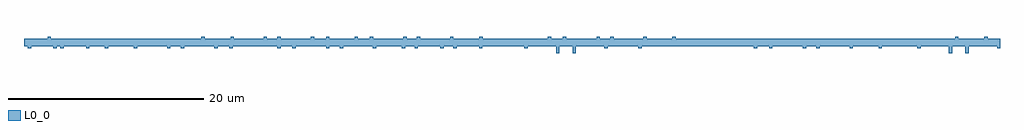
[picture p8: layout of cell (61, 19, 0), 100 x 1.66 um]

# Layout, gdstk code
import gdstk
lib = gdstk.Library(unit=1e-6, precision=1e-09)
def P(c, l, *ps):  # polygons
    for p in ps: c.add(gdstk.Polygon(p, *l))
L0_0 = (0, 0)

c__61__19__0_ = lib.new_cell('(61, 19, 0)')
P(c__61__19__0_, L0_0, [(939.84,965.6),(939.06,965.6),(939.06,965.425),(938.72,965.425),(938.72,965.6),(936.08,965.6),(936.08,965.425),(935.74,965.425),(935.74,965.6),(932.685,965.6),(932.685,965.425),(932.345,965.425),(932.345,965.6),(931.285,965.6),(931.285,965.425),(930.945,965.425),(930.945,965.6),(927.845,965.6),(927.845,965.425),(927.505,965.425),(927.505,965.6),(926.29,965.6),(926.29,965.425),(925.95,965.425),(925.95,965.6),(924.66,965.6),(924.66,966.4),(939.84,966.4),(939.84,965.6)],
  [(900,966.4),(1000,966.4),(1000,965.6),(900,965.6),(900,966.4)],
  [(951.72,966.4),(951.72,965.6),(950.4,965.6),(950.4,966.4),(951.72,966.4)],
  [(900,966.4),(903.54,966.4),(903.54,965.6),(903.36,965.6),(903.36,965.425),(903.02,965.425),(903.02,965.6),(900.72,965.6),(900.72,965.425),(900.38,965.425),(900.38,965.6),(900,965.6),(900,966.4)],
  [(932.58,965.6),(932.58,966.4),(933.87,966.4),(933.87,966.575),(934.21,966.575),(934.21,966.4),(935.425,966.4),(935.425,966.575),(935.765,966.575),(935.765,966.4),(938.865,966.4),(938.865,966.575),(939.205,966.575),(939.205,966.4),(940.265,966.4),(940.265,966.575),(940.605,966.575),(940.605,966.4),(943.66,966.4),(943.66,966.575),(944,966.575),(944,966.4),(946.64,966.4),(946.64,966.575),(946.98,966.575),(946.98,966.4),(947.76,966.4),(947.76,965.6),(932.58,965.6)],
  [(950.4,966.4),(951.06,966.4),(951.06,965.6),(950.4,965.6),(950.4,966.4)],
  [(917.4,966.4),(918.18,966.4),(918.18,966.575),(918.52,966.575),(918.52,966.4),(921.16,966.4),(921.16,966.575),(921.5,966.575),(921.5,966.4),(924.555,966.4),(924.555,966.575),(924.895,966.575),(924.895,966.4),(925.955,966.4),(925.955,966.575),(926.295,966.575),(926.295,966.4),(929.395,966.4),(929.395,966.575),(929.735,966.575),(929.735,966.4),(930.95,966.4),(930.95,966.575),(931.29,966.575),(931.29,966.4),(932.58,966.4),(932.58,965.6),(917.4,965.6),(917.4,966.4)],
  [(924,966.4),(924.66,966.4),(924.66,965.6),(924,965.6),(924,966.4)],
  [(993.96,966.4),(993.96,965.6),(988.68,965.6),(988.68,966.4),(993.96,966.4)],
  [(1000,965.6),(994.62,965.6),(994.62,966.4),(995.4,966.4),(995.4,966.575),(995.74,966.575),(995.74,966.4),(998.38,966.4),(998.38,966.575),(998.72,966.575),(998.72,966.4),(1000,966.4),(1000,965.6)],
  [(964.26,966.4),(964.26,965.6),(963.27,965.6),(963.27,965.425),(962.93,965.425),(962.93,965.6),(959.79,965.6),(959.79,965.425),(959.45,965.425),(959.45,965.6),(956.54,965.6),(956.54,964.92),(956.2,964.92),(956.2,965.6),(954.85,965.6),(954.85,964.92),(954.51,964.92),(954.51,965.6),(951.6,965.6),(951.6,965.425),(951.26,965.425),(951.26,965.6),(951.06,965.6),(951.06,966.4),(964.26,966.4)],
  [(972.18,966.4),(973.5,966.4),(973.5,965.6),(972.18,965.6),(972.18,966.4)],
  [(922.68,966.4),(924,966.4),(924,965.6),(922.68,965.6),(922.68,966.4)],
  [(964.26,966.4),(969.54,966.4),(969.54,965.6),(964.26,965.6),(964.26,966.4)],
  [(947.76,966.4),(947.76,965.6),(946.96,965.6),(946.96,965.425),(946.62,965.425),(946.62,965.6),(944.32,965.6),(944.32,965.425),(943.98,965.425),(943.98,965.6),(943.8,965.6),(943.8,966.4),(947.76,966.4)],
  [(988.68,965.6),(987.9,965.6),(987.9,965.425),(987.56,965.425),(987.56,965.6),(984.92,965.6),(984.92,965.425),(984.58,965.425),(984.58,965.6),(981.525,965.6),(981.525,965.425),(981.185,965.425),(981.185,965.6),(980.125,965.6),(980.125,965.425),(979.785,965.425),(979.785,965.6),(976.685,965.6),(976.685,965.425),(976.345,965.425),(976.345,965.6),(975.13,965.6),(975.13,965.425),(974.79,965.425),(974.79,965.6),(973.5,965.6),(973.5,966.4),(988.68,966.4),(988.68,965.6)],
  [(943.8,966.4),(943.8,965.6),(943,965.6),(943,965.425),(942.66,965.425),(942.66,965.6),(940.36,965.6),(940.36,965.425),(940.02,965.425),(940.02,965.6),(939.84,965.6),(939.84,966.4),(943.8,966.4)],
  [(950.4,966.4),(950.4,965.6),(947.76,965.6),(947.76,966.4),(950.4,966.4)],
  [(922.68,966.4),(922.68,965.6),(921.39,965.6),(921.39,965.425),(921.05,965.425),(921.05,965.6),(919.835,965.6),(919.835,965.425),(919.495,965.425),(919.495,965.6),(916.395,965.6),(916.395,965.425),(916.055,965.425),(916.055,965.6),(914.995,965.6),(914.995,965.425),(914.655,965.425),(914.655,965.6),(911.6,965.6),(911.6,965.425),(911.26,965.425),(911.26,965.6),(908.62,965.6),(908.62,965.425),(908.28,965.425),(908.28,965.6),(907.5,965.6),(907.5,966.4),(922.68,966.4)],
  [(916.74,966.4),(916.74,965.6),(914.1,965.6),(914.1,966.4),(916.74,966.4)],
  [(914.1,966.4),(914.1,965.6),(903.54,965.6),(903.54,966.4),(914.1,966.4)],
  [(952.38,965.6),(952.38,966.4),(953.67,966.4),(953.67,966.575),(954.01,966.575),(954.01,966.4),(955.225,966.4),(955.225,966.575),(955.565,966.575),(955.565,966.4),(958.665,966.4),(958.665,966.575),(959.005,966.575),(959.005,966.4),(960.065,966.4),(960.065,966.575),(960.405,966.575),(960.405,966.4),(963.46,966.4),(963.46,966.575),(963.8,966.575),(963.8,966.4),(966.44,966.4),(966.44,966.575),(966.78,966.575),(966.78,966.4),(967.56,966.4),(967.56,965.6),(952.38,965.6)],
  [(907.5,966.4),(907.5,965.6),(906.7,965.6),(906.7,965.425),(906.36,965.425),(906.36,965.6),(904.06,965.6),(904.06,965.425),(903.72,965.425),(903.72,965.6),(903.54,965.6),(903.54,966.4),(907.5,966.4)],
  [(1000,965.425),(999.71,965.425),(999.71,965.6),(996.8,965.6),(996.8,964.92),(996.46,964.92),(996.46,965.6),(995.11,965.6),(995.11,964.92),(994.77,964.92),(994.77,965.6),(991.86,965.6),(991.86,965.425),(991.52,965.425),(991.52,965.6),(991.32,965.6),(991.32,966.4),(1000,966.4),(1000,965.425)],
  [(988.68,966.4),(991.32,966.4),(991.32,965.6),(988.68,965.6),(988.68,966.4)],
  [(969.54,966.4),(972.18,966.4),(972.18,965.6),(969.54,965.6),(969.54,966.4)],
  [(947.76,966.4),(950.4,966.4),(950.4,965.6),(947.76,965.6),(947.76,966.4)],
  [(994.62,966.4),(994.62,965.6),(993.96,965.6),(993.96,966.4),(994.62,966.4)],
  [(952.38,966.4),(952.38,965.6),(951.72,965.6),(951.72,966.4),(952.38,966.4)],
  [(917.4,966.4),(917.4,965.6),(916.74,965.6),(916.74,966.4),(917.4,966.4)],
  [(900,966.4),(902.42,966.4),(902.42,966.575),(902.76,966.575),(902.76,966.4),(903.54,966.4),(903.54,965.6),(900,965.6),(900,966.4)],
  [(988.68,966.4),(988.68,965.6),(967.56,965.6),(967.56,966.4),(988.68,966.4)],
  [(939.84,965.6),(939.06,965.6),(939.06,965.425),(938.72,965.425),(938.72,965.6),(936.08,965.6),(936.08,965.425),(935.74,965.425),(935.74,965.6),(932.685,965.6),(932.685,965.425),(932.345,965.425),(932.345,965.6),(931.285,965.6),(931.285,965.425),(930.945,965.425),(930.945,965.6),(927.845,965.6),(927.845,965.425),(927.505,965.425),(927.505,965.6),(926.29,965.6),(926.29,965.425),(925.95,965.425),(925.95,965.6),(924.66,965.6),(924.66,966.4),(939.84,966.4),(939.84,965.6)],
  [(943.8,966.4),(943.8,965.6),(943,965.6),(943,965.425),(942.66,965.425),(942.66,965.6),(940.36,965.6),(940.36,965.425),(940.02,965.425),(940.02,965.6),(939.84,965.6),(939.84,966.4),(943.8,966.4)],
  [(950.4,966.4),(950.4,965.6),(947.76,965.6),(947.76,966.4),(950.4,966.4)],
  [(947.76,966.4),(950.4,966.4),(950.4,965.6),(947.76,965.6),(947.76,966.4)],
  [(951.72,966.4),(951.72,965.6),(950.4,965.6),(950.4,966.4),(951.72,966.4)],
  [(952.38,966.4),(952.38,965.6),(951.72,965.6),(951.72,966.4),(952.38,966.4)],
  [(964.26,966.4),(964.26,965.6),(963.27,965.6),(963.27,965.425),(962.93,965.425),(962.93,965.6),(959.79,965.6),(959.79,965.425),(959.45,965.425),(959.45,965.6),(956.54,965.6),(956.54,964.92),(956.2,964.92),(956.2,965.6),(954.85,965.6),(954.85,964.92),(954.51,964.92),(954.51,965.6),(951.6,965.6),(951.6,965.425),(951.26,965.425),(951.26,965.6),(951.06,965.6),(951.06,966.4),(964.26,966.4)],
  [(932.58,965.6),(932.58,966.4),(933.87,966.4),(933.87,966.575),(934.21,966.575),(934.21,966.4),(935.425,966.4),(935.425,966.575),(935.765,966.575),(935.765,966.4),(938.865,966.4),(938.865,966.575),(939.205,966.575),(939.205,966.4),(940.265,966.4),(940.265,966.575),(940.605,966.575),(940.605,966.4),(943.66,966.4),(943.66,966.575),(944,966.575),(944,966.4),(946.64,966.4),(946.64,966.575),(946.98,966.575),(946.98,966.4),(947.76,966.4),(947.76,965.6),(932.58,965.6)],
  [(917.4,966.4),(918.18,966.4),(918.18,966.575),(918.52,966.575),(918.52,966.4),(921.16,966.4),(921.16,966.575),(921.5,966.575),(921.5,966.4),(924.555,966.4),(924.555,966.575),(924.895,966.575),(924.895,966.4),(925.955,966.4),(925.955,966.575),(926.295,966.575),(926.295,966.4),(929.395,966.4),(929.395,966.575),(929.735,966.575),(929.735,966.4),(930.95,966.4),(930.95,966.575),(931.29,966.575),(931.29,966.4),(932.58,966.4),(932.58,965.6),(917.4,965.6),(917.4,966.4)],
  [(950.4,966.4),(951.06,966.4),(951.06,965.6),(950.4,965.6),(950.4,966.4)],
  [(947.76,966.4),(947.76,965.6),(946.96,965.6),(946.96,965.425),(946.62,965.425),(946.62,965.6),(944.32,965.6),(944.32,965.425),(943.98,965.425),(943.98,965.6),(943.8,965.6),(943.8,966.4),(947.76,966.4)],
  [(993.96,966.4),(993.96,965.6),(988.68,965.6),(988.68,966.4),(993.96,966.4)],
  [(932.58,965.6),(932.58,966.4),(933.87,966.4),(933.87,966.575),(934.21,966.575),(934.21,966.4),(935.425,966.4),(935.425,966.575),(935.765,966.575),(935.765,966.4),(938.865,966.4),(938.865,966.575),(939.205,966.575),(939.205,966.4),(940.265,966.4),(940.265,966.575),(940.605,966.575),(940.605,966.4),(943.66,966.4),(943.66,966.575),(944,966.575),(944,966.4),(946.64,966.4),(946.64,966.575),(946.98,966.575),(946.98,966.4),(947.76,966.4),(947.76,965.6),(932.58,965.6)],
  [(988.68,965.6),(987.9,965.6),(987.9,965.425),(987.56,965.425),(987.56,965.6),(984.92,965.6),(984.92,965.425),(984.58,965.425),(984.58,965.6),(981.525,965.6),(981.525,965.425),(981.185,965.425),(981.185,965.6),(980.125,965.6),(980.125,965.425),(979.785,965.425),(979.785,965.6),(976.685,965.6),(976.685,965.425),(976.345,965.425),(976.345,965.6),(975.13,965.6),(975.13,965.425),(974.79,965.425),(974.79,965.6),(973.5,965.6),(973.5,966.4),(988.68,966.4),(988.68,965.6)],
  [(988.68,966.4),(991.32,966.4),(991.32,965.6),(988.68,965.6),(988.68,966.4)],
  [(969.54,966.4),(972.18,966.4),(972.18,965.6),(969.54,965.6),(969.54,966.4)],
  [(950.4,966.4),(950.4,965.6),(947.76,965.6),(947.76,966.4),(950.4,966.4)],
  [(947.76,966.4),(950.4,966.4),(950.4,965.6),(947.76,965.6),(947.76,966.4)],
  [(951.72,966.4),(951.72,965.6),(950.4,965.6),(950.4,966.4),(951.72,966.4)],
  [(952.38,966.4),(952.38,965.6),(951.72,965.6),(951.72,966.4),(952.38,966.4)],
  [(952.38,965.6),(952.38,966.4),(953.67,966.4),(953.67,966.575),(954.01,966.575),(954.01,966.4),(955.225,966.4),(955.225,966.575),(955.565,966.575),(955.565,966.4),(958.665,966.4),(958.665,966.575),(959.005,966.575),(959.005,966.4),(960.065,966.4),(960.065,966.575),(960.405,966.575),(960.405,966.4),(963.46,966.4),(963.46,966.575),(963.8,966.575),(963.8,966.4),(966.44,966.4),(966.44,966.575),(966.78,966.575),(966.78,966.4),(967.56,966.4),(967.56,965.6),(952.38,965.6)],
  [(964.26,966.4),(964.26,965.6),(963.27,965.6),(963.27,965.425),(962.93,965.425),(962.93,965.6),(959.79,965.6),(959.79,965.425),(959.45,965.425),(959.45,965.6),(956.54,965.6),(956.54,964.92),(956.2,964.92),(956.2,965.6),(954.85,965.6),(954.85,964.92),(954.51,964.92),(954.51,965.6),(951.6,965.6),(951.6,965.425),(951.26,965.425),(951.26,965.6),(951.06,965.6),(951.06,966.4),(964.26,966.4)],
  [(972.18,966.4),(973.5,966.4),(973.5,965.6),(972.18,965.6),(972.18,966.4)],
  [(950.4,966.4),(951.06,966.4),(951.06,965.6),(950.4,965.6),(950.4,966.4)],
  [(964.26,966.4),(969.54,966.4),(969.54,965.6),(964.26,965.6),(964.26,966.4)],
  [(988.68,966.4),(988.68,965.6),(967.56,965.6),(967.56,966.4),(988.68,966.4)],
  [(993.96,966.4),(993.96,965.6),(988.68,965.6),(988.68,966.4),(993.96,966.4)],
  [(988.68,965.6),(987.9,965.6),(987.9,965.425),(987.56,965.425),(987.56,965.6),(984.92,965.6),(984.92,965.425),(984.58,965.425),(984.58,965.6),(981.525,965.6),(981.525,965.425),(981.185,965.425),(981.185,965.6),(980.125,965.6),(980.125,965.425),(979.785,965.425),(979.785,965.6),(976.685,965.6),(976.685,965.425),(976.345,965.425),(976.345,965.6),(975.13,965.6),(975.13,965.425),(974.79,965.425),(974.79,965.6),(973.5,965.6),(973.5,966.4),(988.68,966.4),(988.68,965.6)],
  [(1000,965.425),(999.71,965.425),(999.71,965.6),(996.8,965.6),(996.8,964.92),(996.46,964.92),(996.46,965.6),(995.11,965.6),(995.11,964.92),(994.77,964.92),(994.77,965.6),(991.86,965.6),(991.86,965.425),(991.52,965.425),(991.52,965.6),(991.32,965.6),(991.32,966.4),(1000,966.4),(1000,965.425)],
  [(988.68,966.4),(991.32,966.4),(991.32,965.6),(988.68,965.6),(988.68,966.4)],
  [(969.54,966.4),(972.18,966.4),(972.18,965.6),(969.54,965.6),(969.54,966.4)],
  [(1000,965.6),(994.62,965.6),(994.62,966.4),(995.4,966.4),(995.4,966.575),(995.74,966.575),(995.74,966.4),(998.38,966.4),(998.38,966.575),(998.72,966.575),(998.72,966.4),(1000,966.4),(1000,965.6)],
  [(994.62,966.4),(994.62,965.6),(993.96,965.6),(993.96,966.4),(994.62,966.4)],
  [(952.38,965.6),(952.38,966.4),(953.67,966.4),(953.67,966.575),(954.01,966.575),(954.01,966.4),(955.225,966.4),(955.225,966.575),(955.565,966.575),(955.565,966.4),(958.665,966.4),(958.665,966.575),(959.005,966.575),(959.005,966.4),(960.065,966.4),(960.065,966.575),(960.405,966.575),(960.405,966.4),(963.46,966.4),(963.46,966.575),(963.8,966.575),(963.8,966.4),(966.44,966.4),(966.44,966.575),(966.78,966.575),(966.78,966.4),(967.56,966.4),(967.56,965.6),(952.38,965.6)],
  [(972.18,966.4),(973.5,966.4),(973.5,965.6),(972.18,965.6),(972.18,966.4)],
  [(964.26,966.4),(969.54,966.4),(969.54,965.6),(964.26,965.6),(964.26,966.4)],
  [(988.68,966.4),(988.68,965.6),(967.56,965.6),(967.56,966.4),(988.68,966.4)],
  [(993.96,966.4),(993.96,965.6),(988.68,965.6),(988.68,966.4),(993.96,966.4)],
  [(988.68,965.6),(987.9,965.6),(987.9,965.425),(987.56,965.425),(987.56,965.6),(984.92,965.6),(984.92,965.425),(984.58,965.425),(984.58,965.6),(981.525,965.6),(981.525,965.425),(981.185,965.425),(981.185,965.6),(980.125,965.6),(980.125,965.425),(979.785,965.425),(979.785,965.6),(976.685,965.6),(976.685,965.425),(976.345,965.425),(976.345,965.6),(975.13,965.6),(975.13,965.425),(974.79,965.425),(974.79,965.6),(973.5,965.6),(973.5,966.4),(988.68,966.4),(988.68,965.6)],
  [(988.68,966.4),(991.32,966.4),(991.32,965.6),(988.68,965.6),(988.68,966.4)],
  [(969.54,966.4),(972.18,966.4),(972.18,965.6),(969.54,965.6),(969.54,966.4)],
  [(994.62,966.4),(994.62,965.6),(993.96,965.6),(993.96,966.4),(994.62,966.4)],
  [(952.38,965.6),(952.38,966.4),(953.67,966.4),(953.67,966.575),(954.01,966.575),(954.01,966.4),(955.225,966.4),(955.225,966.575),(955.565,966.575),(955.565,966.4),(958.665,966.4),(958.665,966.575),(959.005,966.575),(959.005,966.4),(960.065,966.4),(960.065,966.575),(960.405,966.575),(960.405,966.4),(963.46,966.4),(963.46,966.575),(963.8,966.575),(963.8,966.4),(966.44,966.4),(966.44,966.575),(966.78,966.575),(966.78,966.4),(967.56,966.4),(967.56,965.6),(952.38,965.6)],
  [(972.18,966.4),(973.5,966.4),(973.5,965.6),(972.18,965.6),(972.18,966.4)],
  [(964.26,966.4),(969.54,966.4),(969.54,965.6),(964.26,965.6),(964.26,966.4)],
  [(988.68,966.4),(988.68,965.6),(967.56,965.6),(967.56,966.4),(988.68,966.4)],
  [(988.68,965.6),(987.9,965.6),(987.9,965.425),(987.56,965.425),(987.56,965.6),(984.92,965.6),(984.92,965.425),(984.58,965.425),(984.58,965.6),(981.525,965.6),(981.525,965.425),(981.185,965.425),(981.185,965.6),(980.125,965.6),(980.125,965.425),(979.785,965.425),(979.785,965.6),(976.685,965.6),(976.685,965.425),(976.345,965.425),(976.345,965.6),(975.13,965.6),(975.13,965.425),(974.79,965.425),(974.79,965.6),(973.5,965.6),(973.5,966.4),(988.68,966.4),(988.68,965.6)],
  [(988.68,966.4),(991.32,966.4),(991.32,965.6),(988.68,965.6),(988.68,966.4)],
  [(969.54,966.4),(972.18,966.4),(972.18,965.6),(969.54,965.6),(969.54,966.4)],
  [(952.38,965.6),(952.38,966.4),(953.67,966.4),(953.67,966.575),(954.01,966.575),(954.01,966.4),(955.225,966.4),(955.225,966.575),(955.565,966.575),(955.565,966.4),(958.665,966.4),(958.665,966.575),(959.005,966.575),(959.005,966.4),(960.065,966.4),(960.065,966.575),(960.405,966.575),(960.405,966.4),(963.46,966.4),(963.46,966.575),(963.8,966.575),(963.8,966.4),(966.44,966.4),(966.44,966.575),(966.78,966.575),(966.78,966.4),(967.56,966.4),(967.56,965.6),(952.38,965.6)],
  [(972.18,966.4),(973.5,966.4),(973.5,965.6),(972.18,965.6),(972.18,966.4)],
  [(964.26,966.4),(969.54,966.4),(969.54,965.6),(964.26,965.6),(964.26,966.4)],
  [(988.68,966.4),(988.68,965.6),(967.56,965.6),(967.56,966.4),(988.68,966.4)],
  [(988.68,965.6),(987.9,965.6),(987.9,965.425),(987.56,965.425),(987.56,965.6),(984.92,965.6),(984.92,965.425),(984.58,965.425),(984.58,965.6),(981.525,965.6),(981.525,965.425),(981.185,965.425),(981.185,965.6),(980.125,965.6),(980.125,965.425),(979.785,965.425),(979.785,965.6),(976.685,965.6),(976.685,965.425),(976.345,965.425),(976.345,965.6),(975.13,965.6),(975.13,965.425),(974.79,965.425),(974.79,965.6),(973.5,965.6),(973.5,966.4),(988.68,966.4),(988.68,965.6)],
  [(988.68,966.4),(991.32,966.4),(991.32,965.6),(988.68,965.6),(988.68,966.4)],
  [(969.54,966.4),(972.18,966.4),(972.18,965.6),(969.54,965.6),(969.54,966.4)],
  [(952.38,965.6),(952.38,966.4),(953.67,966.4),(953.67,966.575),(954.01,966.575),(954.01,966.4),(955.225,966.4),(955.225,966.575),(955.565,966.575),(955.565,966.4),(958.665,966.4),(958.665,966.575),(959.005,966.575),(959.005,966.4),(960.065,966.4),(960.065,966.575),(960.405,966.575),(960.405,966.4),(963.46,966.4),(963.46,966.575),(963.8,966.575),(963.8,966.4),(966.44,966.4),(966.44,966.575),(966.78,966.575),(966.78,966.4),(967.56,966.4),(967.56,965.6),(952.38,965.6)],
  [(972.18,966.4),(973.5,966.4),(973.5,965.6),(972.18,965.6),(972.18,966.4)],
  [(988.68,966.4),(988.68,965.6),(967.56,965.6),(967.56,966.4),(988.68,966.4)],
  [(988.68,965.6),(987.9,965.6),(987.9,965.425),(987.56,965.425),(987.56,965.6),(984.92,965.6),(984.92,965.425),(984.58,965.425),(984.58,965.6),(981.525,965.6),(981.525,965.425),(981.185,965.425),(981.185,965.6),(980.125,965.6),(980.125,965.425),(979.785,965.425),(979.785,965.6),(976.685,965.6),(976.685,965.425),(976.345,965.425),(976.345,965.6),(975.13,965.6),(975.13,965.425),(974.79,965.425),(974.79,965.6),(973.5,965.6),(973.5,966.4),(988.68,966.4),(988.68,965.6)],
  [(952.38,965.6),(952.38,966.4),(953.67,966.4),(953.67,966.575),(954.01,966.575),(954.01,966.4),(955.225,966.4),(955.225,966.575),(955.565,966.575),(955.565,966.4),(958.665,966.4),(958.665,966.575),(959.005,966.575),(959.005,966.4),(960.065,966.4),(960.065,966.575),(960.405,966.575),(960.405,966.4),(963.46,966.4),(963.46,966.575),(963.8,966.575),(963.8,966.4),(966.44,966.4),(966.44,966.575),(966.78,966.575),(966.78,966.4),(967.56,966.4),(967.56,965.6),(952.38,965.6)],
  [(988.68,966.4),(988.68,965.6),(967.56,965.6),(967.56,966.4),(988.68,966.4)],
  [(972.18,966.4),(973.5,966.4),(973.5,965.6),(972.18,965.6),(972.18,966.4)],
  [(994.62,966.4),(994.62,965.6),(993.96,965.6),(993.96,966.4),(994.62,966.4)],
  [(1000,965.6),(994.62,965.6),(994.62,966.4),(995.4,966.4),(995.4,966.575),(995.74,966.575),(995.74,966.4),(998.38,966.4),(998.38,966.575),(998.72,966.575),(998.72,966.4),(1000,966.4),(1000,965.6)])

lib.write_gds('_61__19__0_.gds')
